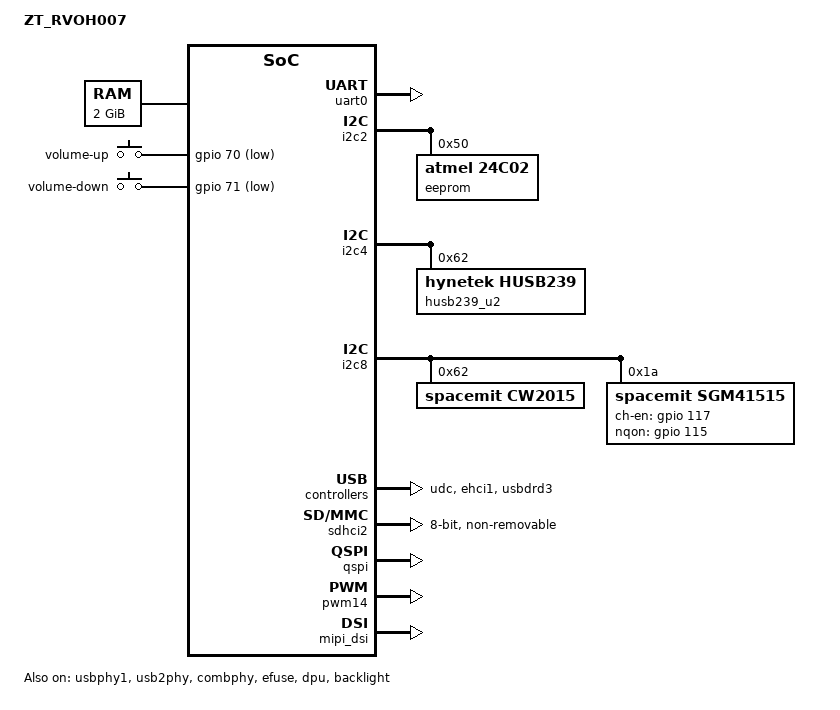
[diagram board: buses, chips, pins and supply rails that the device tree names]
// SPDX-License-Identifier: (GPL-2.0 OR MIT)
/* Copyright (c) 2023 Spacemit, Inc */

/dts-v1/;

#include "k1-x.dtsi"
#include "k1-x_pinctrl.dtsi"
#include "k1-x_spm8821.dtsi"
#include <dt-bindings/input/input.h>
#include <dt-bindings/usb/pd.h>

/ {
	model = "ZT_RVOH007";

	aliases {
		efuse_power = &ldo_31;
	};

	memory@0 {
		device_type = "memory";
		reg = <0x00000000 0x00000000 0x00000000 0x80000000>;
	};

	chosen {
		bootargs = "earlycon=sbi console=ttyS0,115200 debug loglevel=8,initcall_debug=1 rdinit=/init.tmp";
		stdout-path = "serial0:115200n8";
	};

	gpio_keys: gpio_keys {
		compatible = "gpio-keys";
		fastboot-key-combo = "volume-up";
		fastboot-key-press-time = <2000>; /* in milliseconds */

		volume-up-button {
			label = "volume-up";
			linux,code = <KEY_VOLUMEUP>;
			gpios = <&gpio 70 1>;
			debounce-interval = <10>;
		};

		volume-down-button {
			label = "volume-down";
			linux,code = <KEY_VOLUMEDOWN>;
			gpios = <&gpio 71 1>;
			debounce-interval = <10>;
		};
	};
};

&cpus {
	timebase-frequency = <24000000>;
};

&uart0 {
	status = "okay";
};

&i2c0 {
	status = "disabled";
};

&i2c1 {
	status = "disabled";
};

&i2c2 {
	#address-cells = <1>;
	#size-cells = <0>;
	pinctrl-names = "default";
	pinctrl-0 = <&pinctrl_i2c2_0>;
	status = "okay";

	eeprom@50{
		compatible = "atmel,24c02";
		reg = <0x50>;
		vin-supply-names = "eeprom_1v8";
		status = "okay";
	};
};

&i2c3 {
	status = "disabled";
};

&i2c4 {
	#address-cells = <1>;
	#size-cells = <0>;
	pinctrl-names = "default";
	pinctrl-0 = <&pinctrl_i2c4_2>;
	status = "okay";

	husb239_u2: tcpc@62 {
		compatible = "hynetek,husb239";
		reg = <0x62>;
		status = "okay";

		connector {
			compatible = "usb-c-connector";
			label = "USB-C";
			sink-pdos = <PDO_VAR(5000, 9000, 2000)>;
		};
	};
};

&i2c5 {
	pinctrl-names = "default";
	pinctrl-0 = <&pinctrl_i2c5_0>;
	status = "disabled";
};

&i2c6 {
	status = "disabled";
};

&i2c7 {
	status = "disabled";
};

&i2c8 {
	cw2015: cw2015@62 {
		compatible = "spacemit,cw2015";
		reg = <0x62>;
		cellwise,battery-profile = /bits/ 8 <
			0x18 0x0A 0x8F 0x78 0x6D 0x6D 0x6D 0x6E
			0x6E 0x6C 0x6A 0x69 0x66 0x5F 0x65 0x5D
			0x4C 0x41 0x33 0x2C 0x28 0x27 0x2C 0x3A
			0x46 0x4C 0x0C 0xCD 0x25 0x45 0x47 0x48
			0x49 0x49 0x48 0x47 0x36 0x0F 0x65 0x11
			0x02 0x21 0x3C 0x69 0x8A 0x92 0x93 0x32
			0x4C 0x7D 0x98 0x9F 0x80 0x4F 0x9D 0xCB
			0x2F 0x00 0x64 0xA5 0xB5 0xC1 0x46 0xAE
		>;
		status = "okay";
	};

	sgm41515: sgm41515 {
		compatible = "spacemit,sgm41515";
		reg = <0x1a>;
		ch-en-gpios = <&gpio 117 0>;
		nqon-gpios = <&gpio 115 0>;

		sgm41515-ichrg-uA = <1000000>;
		sgm41515-vchrg-uV = <4400000>;
		sgm41515-cur-input-uA = <2000000>;
		status = "okay";
	};
};

&pinctrl {
	pinctrl-single,gpio-range = <
		&range GPIO_49  2 (MUX_MODE0 | EDGE_NONE | PULL_UP   | PAD_3V_DS4)
		&range GPIO_58  1 (MUX_MODE0 | EDGE_NONE | PULL_DOWN | PAD_1V8_DS2)
		&range GPIO_63  1 (MUX_MODE0 | EDGE_NONE | PULL_DOWN | PAD_1V8_DS2)
		&range GPIO_64  1 (MUX_MODE1 | EDGE_NONE | PULL_DOWN | PAD_1V8_DS2)
		&range GPIO_65  1 (MUX_MODE0 | EDGE_NONE | PULL_UP   | PAD_1V8_DS2)
		&range GPIO_66  2 (MUX_MODE0 | EDGE_NONE | PULL_DOWN | PAD_1V8_DS2)
		&range PRI_TDI  2 (MUX_MODE1 | EDGE_NONE | PULL_UP   | PAD_1V8_DS2)
		&range PRI_TCK  1 (MUX_MODE1 | EDGE_NONE | PULL_DOWN | PAD_1V8_DS2)
		&range PRI_TDO  1 (MUX_MODE1 | EDGE_NONE | PULL_UP   | PAD_1V8_DS2)
		&range GPIO_74  1 (MUX_MODE0 | EDGE_NONE | PULL_UP   | PAD_1V8_DS2)
		&range GPIO_79  1 (MUX_MODE0 | EDGE_NONE | PULL_UP   | PAD_1V8_DS2)
		&range GPIO_80  1 (MUX_MODE0 | EDGE_NONE | PULL_UP   | PAD_3V_DS4)
		&range GPIO_81  3 (MUX_MODE0 | EDGE_NONE | PULL_UP   | PAD_1V8_DS2)
		&range GPIO_90  1 (MUX_MODE0 | EDGE_NONE | PULL_DOWN | PAD_1V8_DS2)
		&range GPIO_91  2 (MUX_MODE0 | EDGE_NONE | PULL_UP   | PAD_1V8_DS2)
		&range DVL0     2 (MUX_MODE1 | EDGE_NONE | PULL_DOWN | PAD_1V8_DS2)
		&range GPIO_110 1 (MUX_MODE0 | EDGE_NONE | PULL_DOWN | PAD_1V8_DS2)
		&range GPIO_114 1 (MUX_MODE0 | EDGE_NONE | PULL_DOWN | PAD_1V8_DS2)
		&range GPIO_115 2 (MUX_MODE0 | EDGE_NONE | PULL_DOWN | PAD_1V8_DS2)
		&range GPIO_123 1 (MUX_MODE0 | EDGE_NONE | PULL_DOWN | PAD_1V8_DS2)
		&range GPIO_124 1 (MUX_MODE0 | EDGE_NONE | PULL_UP   | PAD_1V8_DS2)
		&range GPIO_125 3 (MUX_MODE0 | EDGE_NONE | PULL_DOWN | PAD_1V8_DS2)
	>;
};

&gpio{
	gpio-ranges = <
		&pinctrl 49 GPIO_49 2
		&pinctrl 58 GPIO_58 1
		&pinctrl 63 GPIO_63 1
		&pinctrl 65 GPIO_65 3
		&pinctrl 70 PRI_TDI 4
		&pinctrl 74 GPIO_74 1
		&pinctrl 79 GPIO_79 1
		&pinctrl 80 GPIO_80 4
		&pinctrl 90 GPIO_90 3
		&pinctrl 96 DVL0 2
		&pinctrl 110 GPIO_110 1
		&pinctrl 114 GPIO_114 3
		&pinctrl 123 GPIO_123 5
	>;
};

&udc {
	status = "okay";
};

&usbphy1 {
	status = "okay";
};

&ehci1 {
	status = "okay";
};

&usb2phy {
	status = "okay";
};

&combphy {
	status = "okay";
};

&usbdrd3 {
	status = "okay";
	dwc3@c0a00000 {
		dr_mode = "host";
		maximum-speed = "high-speed";
		phy_type = "utmi";
		snps,dis_enblslpm_quirk;
		snps,dis_u2_susphy_quirk;
		snps,dis_u3_susphy_quirk;
		snps,dis-del-phy-power-chg-quirk;
		snps,dis-tx-ipgap-linecheck-quirk;
	};
};

/* eMMC */
&sdhci2 {
	bus-width = <8>;
	non-removable;
	mmc-hs400-1_8v;
	mmc-hs400-enhanced-strobe;
	sdh-phy-module = <1>;
	clk-src-freq = <375000000>;
	status = "okay";
};

&qspi {
	status = "okay";
	pinctrl-names = "default";
	pinctrl-0 = <&pinctrl_qspi>;

	flash@0 {
		compatible = "jedec,spi-nor";
		reg = <0>;
		spi-max-frequency = <26500000>;
		m25p,fast-read;
		broken-flash-reset;
		status = "disabled";
	};
};

&efuse {
	status = "okay";
};

&ldo_27 {
	regulator-init-microvolt = <1200000>;
	regulator-boot-on;
	regulator-state-mem {
			regulator-off-in-suspend;
	};
};

&dpu {
	status = "okay";
};

&pwm14 {
	pinctrl-names = "default";
	pinctrl-0 = <&pinctrl_pwm14_1>;
	status = "okay";
};

&backlight {
	pwms = <&pwm14 0 2000>;
	default-brightness-level = <6>;
	status = "okay";
};

&mipi_dsi {
	status = "okay";
};

&panel {
	force-attached = "hxdm101";
	dcp-gpios = <&gpio 34 0>;
	dcn-gpios = <&gpio 42 0>;
	backlight = <&backlight>;
	reset-gpios = <&gpio 59 0>;
	status = "okay";
};

&shutdown_charging {
	electricity-meter = <&cw2015>;
	power-domains = <&pmu K1X_PMU_WKUP_EVENT_PWR_DOMAIN>;

	wk-name = "pwr_event", "pwr_int", "rtc_ctrl", "rtc_event", "rtc_irq", "sys-shutdown", "reboot-flag";
	pwr_event = <&power_event>;
	pwr_int = <&power_int>;

	rtc_ctrl = <&rtc_ctrl>;
	rtc_event = <&rtc_event>;
	rtc_irq = <&rtc_irq>;

	sys-shutdown = <&power_down>;
	reboot-flag = <&reboot_flag>;

	charge-light = <&gpio 75 0 &gpio 76 0>;
	valid-level = <1>;

	backlight = <&backlight>;

	charger-name = "charger0";
	charger0 = <&sgm41515>;

	battery-threshold0 = <3>;
	battery-threshold1 = <5>;
	battery-threshold2 = <100>;

	status = "disabled";
};
